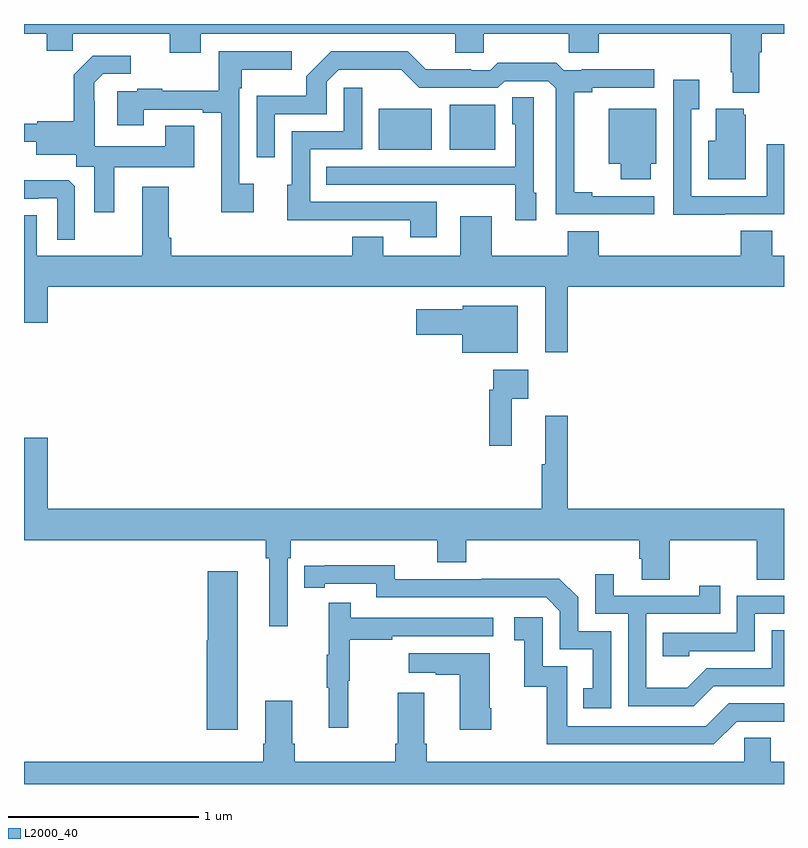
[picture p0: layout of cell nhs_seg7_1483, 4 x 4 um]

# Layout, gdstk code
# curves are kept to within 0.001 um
import gdstk
lib = gdstk.Library(unit=1e-6, precision=1e-09)
def R(c, l, rs):  # rectangles x0, y0, x1, y1
    for r in rs: c.add(gdstk.rectangle(r[:2], r[2:], *l))
def P(c, l, *ps):  # polygons
    for p in ps: c.add(gdstk.Polygon(p, *l))
L2000_40 = (2000, 40)

nhs_seg7_1483 = lib.new_cell('nhs_seg7_1483')
R(nhs_seg7_1483, L2000_40, [(214.868,1001.339,215.146,1001.554), (215.24,1001.339,215.479,1001.575)])
P(nhs_seg7_1483, L2000_40, [(216.871,1001.852),(216.884,1001.852),(216.884,1001.948),(217,1001.948),(217,1002),(213,1002),(213,1001.948),(213.119,1001.948),(213.119,1001.858),(213.257,1001.858),(213.257,1001.948),(213.767,1001.948),(213.767,1001.849),(213.931,1001.849),(213.931,1001.948),(215.27,1001.948),(215.27,1001.85),(215.421,1001.85),(215.421,1001.948),(215.866,1001.948),(215.866,1001.85),(216.026,1001.85),(216.026,1001.948),(216.719,1001.948),(216.719,1001.746),(216.731,1001.746),(216.731,1001.639),(216.871,1001.639)],
  [(216.316,1001.094),(215.992,1001.094),(215.992,1001.114),(215.897,1001.114),(215.897,1001.642),(215.992,1001.642),(215.992,1001.664),(216.316,1001.664),(216.316,1001.762),(215.935,1001.762),(215.935,1001.757),(215.841,1001.757),(215.801,1001.797),(215.494,1001.797),(215.454,1001.757),(215.354,1001.757),(215.354,1001.762),(215.114,1001.762),(215.019,1001.856),(214.616,1001.856),(214.486,1001.726),(214.486,1001.623),(214.224,1001.623),(214.224,1001.298),(214.32,1001.298),(214.32,1001.526),(214.593,1001.526),(214.593,1001.697),(214.656,1001.76),(214.985,1001.759),(215.079,1001.664),(215.493,1001.664),(215.529,1001.7),(215.76,1001.7),(215.799,1001.661),(215.799,1000.998),(216.316,1000.998)],
  [(214.21,1001.158),(214.134,1001.158),(214.134,1001.663),(214.147,1001.663),(214.147,1001.759),(214.408,1001.759),(214.408,1001.856),(214.026,1001.856),(214.026,1001.648),(213.727,1001.648),(213.727,1001.659),(213.595,1001.659),(213.595,1001.646),(213.491,1001.646),(213.491,1001.466),(213.631,1001.466),(213.631,1001.55),(213.941,1001.55),(213.941,1001.532),(214.037,1001.532),(214.037,1001.01),(214.21,1001.01)],
  [(213.475,1001.246),(213.895,1001.246),(213.895,1001.465),(213.743,1001.465),(213.743,1001.356),(213.372,1001.356),(213.372,1001.597),(213.37,1001.597),(213.37,1001.692),(213.417,1001.739),(213.562,1001.739),(213.562,1001.833),(213.361,1001.833),(213.261,1001.733),(213.261,1001.488),(213.069,1001.488),(213.069,1001.475),(213,1001.475),(213,1001.379),(213.065,1001.379),(213.065,1001.312),(213.276,1001.312),(213.276,1001.248),(213.371,1001.248),(213.371,1001.01),(213.475,1001.01)],
  [(216.689,1000.998),(217,1000.998),(217,1001.368),(216.909,1001.368),(216.909,1001.094),(216.513,1001.094),(216.513,1001.551),(216.553,1001.551),(216.553,1001.707),(216.417,1001.707),(216.417,1000.997),(216.689,1000.997)],
  [(215.173,1001.064),(214.506,1001.064),(214.506,1001.34),(214.779,1001.34),(214.779,1001.665),(214.683,1001.665),(214.683,1001.436),(214.41,1001.436),(214.41,1001.154),(214.385,1001.154),(214.385,1000.967),(214.603,1000.967),(214.603,1000.968),(215.033,1000.968),(215.033,1000.878),(215.173,1000.878)],
  [(215.695,1001.112),(215.682,1001.112),(215.682,1001.615),(215.57,1001.615),(215.57,1001.472),(215.586,1001.472),(215.586,1001.25),(214.591,1001.25),(214.591,1001.154),(215.269,1001.154),(215.269,1001.153),(215.586,1001.153),(215.586,1000.968),(215.695,1000.968)],
  [(216.799,1001.523),(216.788,1001.523),(216.788,1001.554),(216.641,1001.554),(216.641,1001.386),(216.602,1001.386),(216.602,1001.183),(216.799,1001.183)],
  [(216.298,1001.264),(216.328,1001.264),(216.328,1001.554),(216.077,1001.554),(216.077,1001.264),(216.14,1001.264),(216.14,1001.183),(216.298,1001.183)],
  [(213.267,1001.145),(213.235,1001.177),(213,1001.177),(213,1001.079),(213.074,1001.079),(213.074,1001.082),(213.174,1001.082),(213.174,1000.865),(213.267,1000.865)],
  [(215.861,1000.616),(217,1000.616),(217,1000.78),(216.938,1000.78),(216.938,1000.913),(216.773,1000.913),(216.773,1000.78),(216.025,1000.78),(216.025,1000.909),(215.861,1000.909),(215.861,1000.78),(215.461,1000.78),(215.461,1000.987),(215.297,1000.987),(215.297,1000.78),(214.891,1000.78),(214.891,1000.879),(214.727,1000.879),(214.727,1000.78),(213.776,1000.78),(213.776,1000.876),(213.763,1000.876),(213.763,1001.143),(213.623,1001.143),(213.623,1000.78),(213.066,1000.78),(213.066,1000.994),(213,1000.994),(213,1000.428),(213.124,1000.428),(213.124,1000.616),(215.744,1000.616),(215.744,1000.272),(215.861,1000.272)],
  [(215.599,1000.516),(215.31,1000.516),(215.31,1000.498),(215.064,1000.498),(215.064,1000.364),(215.306,1000.364),(215.306,1000.271),(215.599,1000.271)],
  [(215.567,1000.028),(215.653,1000.028),(215.653,1000.18),(215.469,1000.18),(215.469,1000.076),(215.449,1000.076),(215.449,999.78),(215.567,999.78)],
  [(214.389,999.188),(214.403,999.188),(214.403,999.284),(215.174,999.284),(215.174,999.167),(215.327,999.167),(215.327,999.284),(216.239,999.284),(216.239,999.186),(216.251,999.186),(216.251,999.076),(216.399,999.076),(216.399,999.284),(216.856,999.284),(216.856,999.076),(217,999.076),(217,999.448),(215.861,999.448),(215.861,999.937),(215.744,999.937),(215.744,999.684),(215.725,999.684),(215.725,999.448),(213.124,999.448),(213.124,999.823),(213,999.823),(213,999.284),(214.273,999.284),(214.273,999.188),(214.292,999.188),(214.292,998.829),(214.389,998.829)],
  [(216.09,998.805),(215.916,998.805),(215.916,998.982),(215.818,999.08),(215.41,999.08),(215.41,999.078),(214.95,999.078),(214.95,999.151),(214.474,999.15),(214.474,999.034),(214.582,999.034),(214.582,999.054),(214.854,999.054),(214.854,998.982),(215.748,998.982),(215.82,998.91),(215.82,998.709),(215.993,998.709),(215.993,998.505),(215.944,998.505),(215.944,998.4),(216.09,998.4)],
  [(214.126,999.121),(213.968,999.121),(213.968,998.757),(213.962,998.757),(213.962,998.286),(214.126,998.286)],
  [(216.631,998.514),(217,998.514),(217,998.809),(216.936,998.809),(216.936,998.61),(216.594,998.61),(216.49,998.506),(216.276,998.506),(216.276,998.895),(216.665,998.895),(216.665,999.043),(216.554,999.043),(216.554,998.991),(216.103,998.991),(216.103,999.103),(216.006,999.103),(216.006,998.895),(216.18,998.895),(216.18,998.409),(216.526,998.409)],
  [(216.501,998.7),(216.846,998.7),(216.846,998.895),(217,998.895),(217,998.991),(216.75,998.991),(216.75,998.796),(216.361,998.796),(216.361,998.673),(216.501,998.673)],
  [(214.706,998.544),(214.714,998.544),(214.714,998.758),(214.937,998.758),(214.937,998.778),(215.47,998.778),(215.47,998.874),(214.721,998.874),(214.721,998.953),(214.604,998.953),(214.604,998.681),(214.593,998.681),(214.593,998.507),(214.604,998.507),(214.604,998.295),(214.706,998.295)],
  [(216.75,998.328),(217,998.328),(217,998.424),(216.708,998.424),(216.588,998.304),(215.859,998.304),(215.859,998.619),(215.73,998.619),(215.73,998.878),(215.58,998.878),(215.58,998.757),(215.633,998.757),(215.633,998.511),(215.751,998.511),(215.751,998.208),(216.63,998.208)],
  [(215.46,998.398),(215.452,998.398),(215.452,998.689),(215.025,998.689),(215.025,998.585),(215.168,998.585),(215.168,998.575),(215.294,998.575),(215.294,998.286),(215.46,998.286)],
  [(217,998.116),(216.931,998.116),(216.931,998.243),(216.792,998.243),(216.792,998.116),(215.12,998.116),(215.12,998.212),(215.107,998.212),(215.107,998.479),(214.967,998.479),(214.967,998.212),(214.955,998.212),(214.955,998.116),(214.424,998.116),(214.424,998.212),(214.411,998.212),(214.411,998.437),(214.271,998.437),(214.271,998.212),(214.259,998.212),(214.259,998.116),(213,998.116),(213,998),(217,998)])

lib.write_gds('nhs_seg7_1483.gds')
